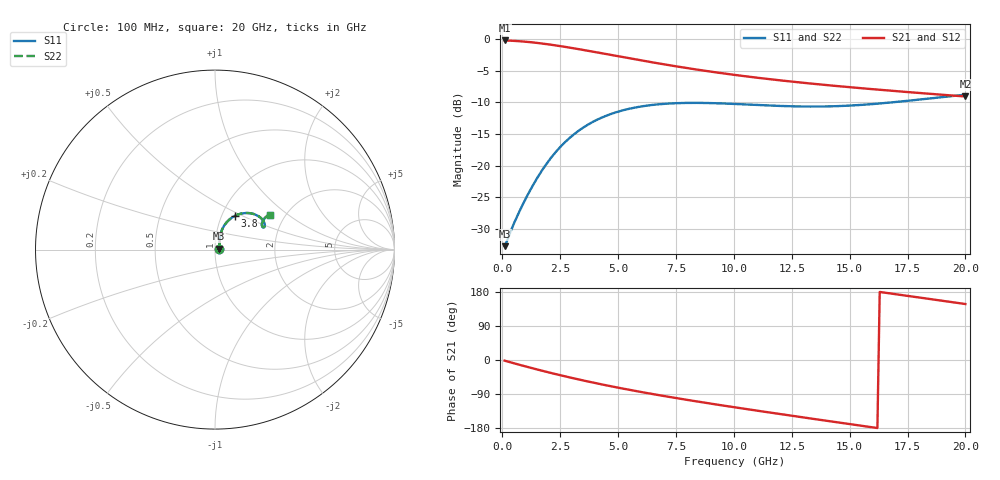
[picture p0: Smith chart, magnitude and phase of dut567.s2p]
! Touchstone file exported from HFSS 2024.1.0
!  File:  C:/UserFiles/LocalFiles/RDL_TSV_Batchsim/temp_RDL_TSV_567_1779753716.aedt
!  Generated:  08:15:34 AM May 26, 2026
!  Design:  RDL_TSV
!  Project:  temp_RDL_TSV_567_1779753716
!  Setup:  Setup1
!  Solution:  Sweep
! Variables:
!  dtsv = 7.65um
!  hbump = 3um
!  htsv = 65.57um
!  ldown = 234.66um
!  lrdl = 611.63um
!  p = 40
!  p1 = 46.32um
!  rhole = 10um
!  subl = 3150.5um
!  t = 450um
!  tdown = 4.9um
!  trdl = 2.53um
!  viad = 10um
!  wdown = 28.5um
!  wrdl = 17.24um
!  xbump = 18um
# GHz S MA R 50.000000
! Terminal data exported
! Port[1] = TM1_1_T1
! Port[2] = TM1_4_T1
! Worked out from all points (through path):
!   200 points, 100 MHz to 20 GHz, reference 50 ohm
!   highest |S21| = -0.20 dB at 100 MHz (marker M1); lowest = -9.1 dB at 20 GHz (marker M2)
!   group delay of S21, straight-line fit = 28 ps
!   lowest |S11| = -32.8 dB at 100 MHz (marker M3), VSWR 1.05, Z = 52.3 + j0.563 ohm
!   |S11| at or under -10 dB: start of sweep to 16.83 GHz
!   |S22| runs from -32.8 to -8.8 dB; largest |S21 - S12| = 1.1e-14
!   S11 on the Smith chart (normalised r, x): 100 MHz: 1.05, +0.01; 3.8 GHz: 1.15, +0.45; 20 GHz: 1.68, +0.75
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0.1  0.023 13.5  0.9774 -1.8  0.9774 -1.8  0.023 13.5
! Gamma 0 0 0 0
! Port Impedance 50 0 50 0
0.5  0.03469 44.6  0.9705 -8.6  0.9705 -8.6  0.03469 44.6
0.9  0.04982 58.9  0.9591 -15.3  0.9591 -15.3  0.04981 58.9
1.3  0.06857 66.7  0.9439 -21.8  0.9439 -21.8  0.06858 66.7
1.7  0.09063 70.1  0.9254 -28.1  0.9254 -28.1  0.09065 70.1
2.1  0.1149 70.6  0.9045 -34.2  0.9045 -34.2  0.1149 70.6
2.5  0.14 69.3  0.882 -40.1  0.882 -40.1  0.14 69.3
3  0.171 66.2  0.8524 -47.2  0.8524 -47.2  0.1711 66.3
3.5  0.2 62.3  0.8222 -54.1  0.8222 -54.1  0.2001 62.4
3.8  0.216 59.8  0.804 -58.0  0.804 -58.0  0.2161 59.9
4.4  0.2441 54.7  0.7681 -65.7  0.7681 -65.7  0.2444 54.8
5.1  0.2702 48.9  0.7279 -74.2  0.7279 -74.2  0.2705 49.0
5.9  0.2915 43.0  0.6849 -83.4  0.6849 -83.4  0.2918 43.1
6.8  0.3059 37.3  0.641 -93.1  0.641 -93.1  0.3062 37.3
8.4  0.3133 29.7  0.5749 -109.3  0.5749 -109.3  0.3137 29.8
10.1  0.3069 25.4  0.5198 -125.4  0.5198 -125.4  0.3073 25.5
11.7  0.2977 24.5  0.479 -140.0  0.479 -140.0  0.298 24.6
13.4  0.293 26.1  0.4442 -155.0  0.4442 -155.0  0.2933 26.2
15  0.2982 28.8  0.4171 -169.1  0.4171 -169.1  0.2986 29.0
16.7  0.3146 31.4  0.3923 176.1  0.3923 176.1  0.3151 31.5
18.4  0.3388 32.6  0.3704 161.4  0.3704 161.4  0.3395 32.7
20  0.3638 32.3  0.352 147.7  0.352 147.7  0.3646 32.4
